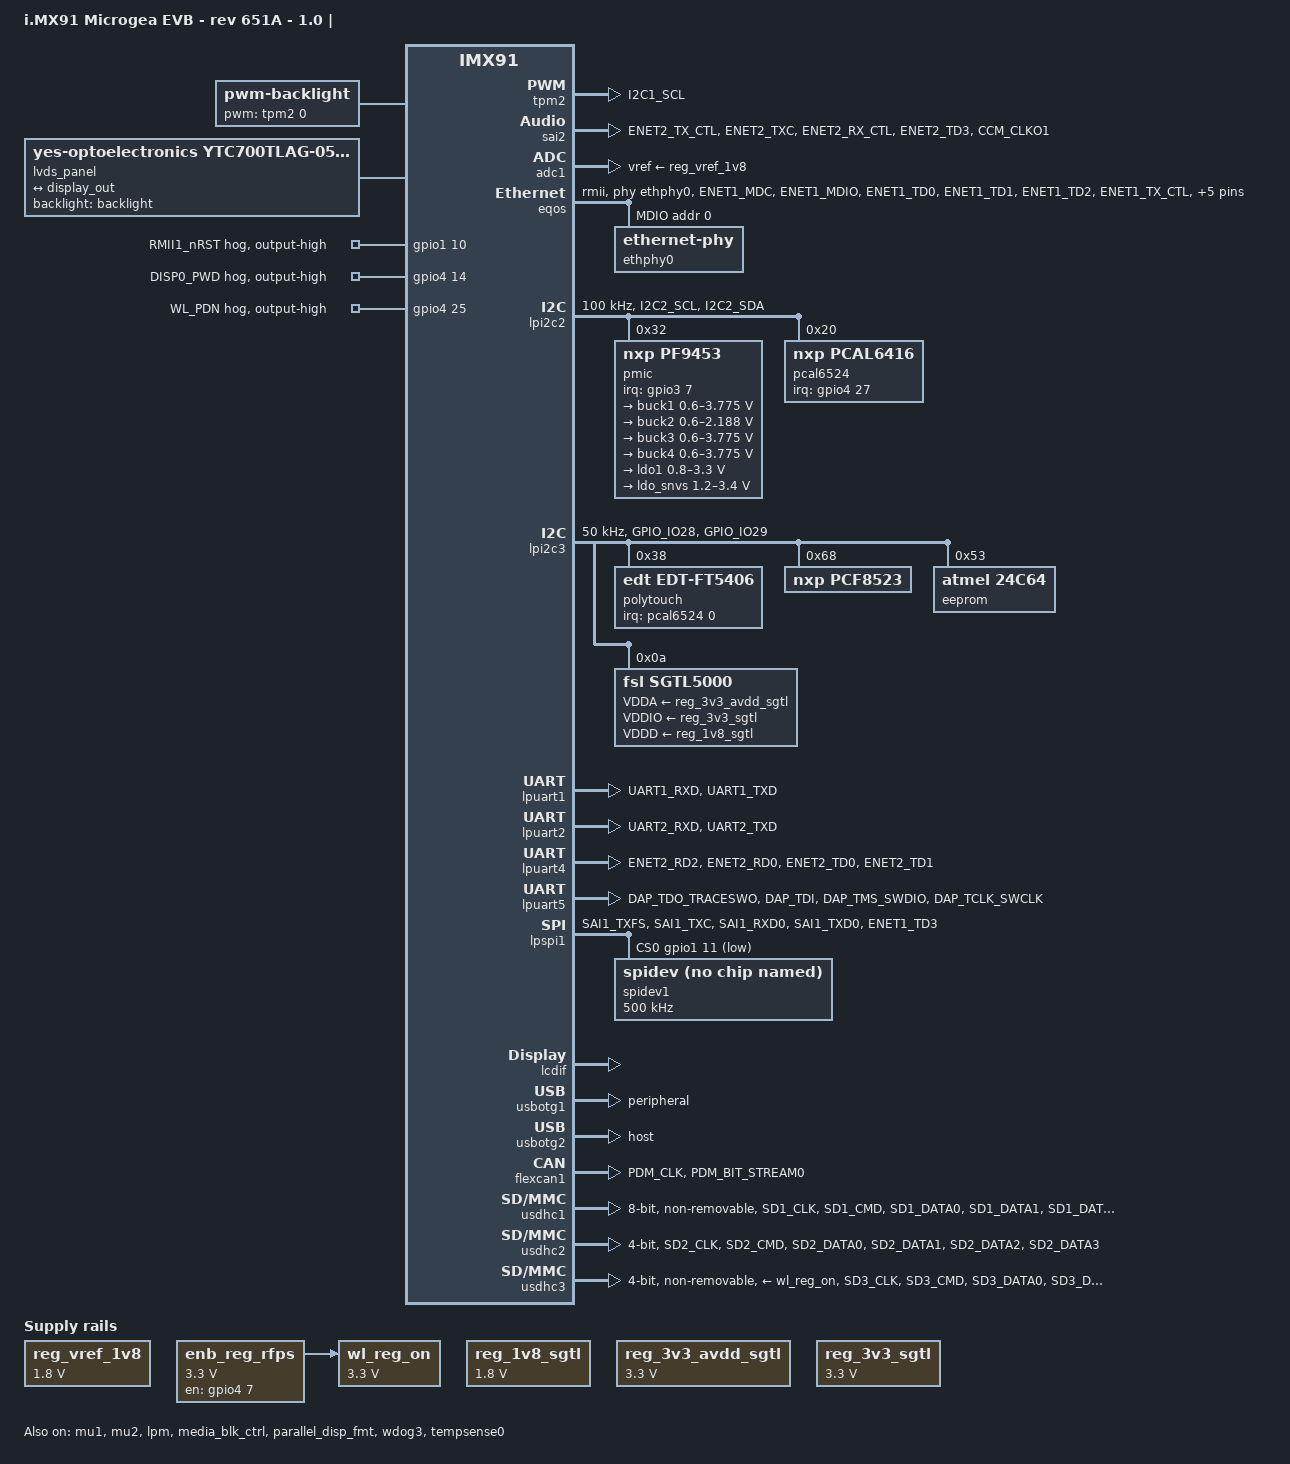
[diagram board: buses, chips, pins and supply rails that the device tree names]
// SPDX-License-Identifier: (GPL-2.0+ OR MIT)
/*
 * Copyright 2024 NXP
 */

/dts-v1/;

#include <dt-bindings/usb/pd.h>
#include "../freescale/imx91.dtsi"

&ele_fw2 {
	memory-region = <&ele_reserved>;
};

/ {
	model = "i.MX91 Microgea EVB - rev 651A - 1.0 | ";
	compatible = "eng,MicrogeaEVB", "fsl,imx91";

	chosen {
		stdout-path = &lpuart1;
	};

	aliases {
		rtc0 = &pcf8523;
	};

	reserved-memory {
		#address-cells = <2>;
		#size-cells = <2>;
		ranges;

		linux,cma {
			compatible = "shared-dma-pool";
			reusable;
			alloc-ranges = <0 0x80000000 0 0x40000000>;
			size = <0 0x10000000>;
			linux,cma-default;
		};

		ele_reserved: ele-reserved@a4120000 {
			compatible = "shared-dma-pool";
			reg = <0 0xa4120000 0 0x100000>;
			no-map;
		};
	};

	reg_vref_1v8: regulator-adc-vref {
		compatible = "regulator-fixed";
		regulator-name = "vref_1v8";
		regulator-min-microvolt = <1800000>;
		regulator-max-microvolt = <1800000>;
	};

	wl_reg_on: regulator-wlregon {
		compatible = "regulator-gpio";
		regulator-name = "WL_REG_ON";
		regulator-min-microvolt = <3300000>;
		regulator-max-microvolt = <3300000>;
		states = <3300000 0x1>,
				 <3300000 0x0>;
		gpios = <&gpio4 23 GPIO_ACTIVE_HIGH>;
		enable-active-high;
		vin-supply = <&enb_reg_rfps>;
	};

	enb_reg_rfps: regulator-enbregrfps {
		compatible = "regulator-fixed";
		regulator-name = "ENB_RFPS";
		regulator-min-microvolt = <3300000>;
		regulator-max-microvolt = <3300000>;
		gpio = <&gpio4 7 GPIO_ACTIVE_LOW>;
		startup-delay-us = <12000>;
		enable-active-high;
	};

	reg_1v8_sgtl: reg_1v8_sgtl_regulator {
		compatible = "regulator-fixed";
		regulator-name = "1v8_sgtl";
		regulator-min-microvolt = <1800000>;
		regulator-max-microvolt = <1800000>;
		always-on;
	};

	reg_3v3_avdd_sgtl: reg_3v3_avdd_regulator {
		compatible = "regulator-fixed";
		regulator-name = "3v3_avdd_sgtl";
		regulator-min-microvolt = <3300000>;
		regulator-max-microvolt = <3300000>;
		always-on;
	};

	reg_3v3_sgtl: reg_3v3_sgtl_regulator {
		compatible = "regulator-fixed";
		regulator-name = "3v3_sgtl";
		regulator-min-microvolt = <3300000>;
		regulator-max-microvolt = <3300000>;
		always-on;
	};

	backlight: backlight {
		compatible = "pwm-backlight";
		pwms = <&tpm2 0 100000 0>;
		brightness-levels = <0 100>;
		num-interpolated-steps = <100>;
		default-brightness-level = <80>;
	};

	lvds_panel {
		compatible = "yes-optoelectronics,ytc700tlag-05-201c";
		backlight = <&backlight>;

		port {
			panel_in_lvds: endpoint {
				remote-endpoint = <&display_out>;
			};
		};
	};

	sound {
		compatible = "simple-audio-card";

		simple-audio-card,format = "i2s";
		simple-audio-card,widgets =
				"Microphone", "Microphone Jack",
				"Headphone", "Headphone Jack",
				"Speaker", "Speaker Ext",
				"Line", "Line In Jack";

		simple-audio-card,routing =
				"MIC_IN", "Microphone Jack",
				"Microphone Jack", "Mic Bias",
				"LINE_IN", "Line In Jack",
				"Headphone Jack", "HP_OUT",
				"Speaker Ext", "LINE_OUT";

		#sound-dai-cells = <2>;

		simple-audio-card,cpu {
				sound-dai = <&sai2>;
		};

		simple-audio-card,codec {
				sound-dai = <&sgtl5000>;
				frame-master;
				bitclock-master;
		};
	};
};

&tpm2 {
	pinctrl-names = "default";
	pinctrl-0 = <&pinctrl_tpm2_ch0>;
	status = "okay";
};

&sai2 {
	#sound-dai-cells = <0>;
	pinctrl-names = "default";
	pinctrl-0 = <&pinctrl_sai2>;
	assigned-clocks = <&clk IMX91_CLK_SAI2>;
	assigned-clock-parents = <&clk IMX91_CLK_AUDIO_PLL>;
	assigned-clock-rates = <24576000>;
	fsl,sai-mclk-direction-output;
	status = "okay";
};


&adc1 {
	vref-supply = <&reg_vref_1v8>;
	status = "okay";
};

&mu1 {
	status = "okay";
};

&mu2 {
	status = "okay";
};

&eqos {
	pinctrl-names = "default", "sleep";
	pinctrl-0 = <&pinctrl_eqos>;
	phy-mode = "rmii";
	phy-handle = <&ethphy0>;
	snps,rmii_refclk_ext;
	status = "okay";

	mdio {
		compatible = "snps,dwmac-mdio";
		#address-cells = <1>;
		#size-cells = <0>;
		clock-frequency = <5000000>;

		ethphy0: ethernet-phy@0 {
			reg = <0>;
		};
	};
};

&lpm {
	soc-supply = <&buck1>;
	status = "okay";
};

&lpi2c2 {
	#address-cells = <1>;
	#size-cells = <0>;
	clock-frequency = <100000>;
	pinctrl-names = "default", "sleep";
	pinctrl-0 = <&pinctrl_lpi2c2>;
	pinctrl-1 = <&pinctrl_lpi2c2>;
	status = "okay";

	pmic@32 {
		compatible = "nxp,pf9453";
		pinctrl-names = "default";
		pinctrl-0 = <&pinctrl_pf9453>;
		reg = <0x32>;
		interrupt-parent = <&gpio3>;
		interrupts = <7 IRQ_TYPE_EDGE_FALLING>;

		regulators {
			buck1: BUCK1 {
				regulator-name = "BUCK1";
				regulator-min-microvolt = <600000>;
				regulator-max-microvolt = <3775000>;
				regulator-boot-on;
				regulator-always-on;
			};

			buck2: BUCK2 {
				regulator-name = "BUCK2";
				regulator-min-microvolt = <600000>;
				regulator-max-microvolt = <2187500>;
				regulator-boot-on;
				regulator-always-on;
				regulator-ramp-delay = <12500>;
			};

			buck3: BUCK3 {
				regulator-name = "BUCK3";
				regulator-min-microvolt = <600000>;
				regulator-max-microvolt = <3775000>;
				regulator-boot-on;
				regulator-always-on;
			};

			buck4: BUCK4{
				regulator-name = "BUCK4";
				regulator-min-microvolt = <600000>;
				regulator-max-microvolt = <3775000>;
				regulator-boot-on;
				regulator-always-on;
			};

			ldo1: LDO1 {
				regulator-name = "LDO1";
				regulator-min-microvolt = <800000>;
				regulator-max-microvolt = <3300000>;
				regulator-boot-on;
				regulator-always-on;
			};

			ldo_snvs: LDO_SNVS {
				regulator-name = "LDO_SNVS";
				regulator-min-microvolt = <1200000>;
				regulator-max-microvolt = <3400000>;
				regulator-boot-on;
				regulator-always-on;
			};
		};
	};

	pcal6524: gpio@20 {
		compatible = "nxp,pcal6416";
		pinctrl-names = "default";
		pinctrl-0 = <&pinctrl_pcal6416>;
		reg = <0x20>;
        interrupt-parent = <&gpio4>;
        interrupts = <27 IRQ_TYPE_LEVEL_LOW>;
		interrupt-controller;
		#interrupt-cells = <2>;
		gpio-controller;
		#gpio-cells = <2>;
		gpio-line-names =
			"EXPIO_0_0", "EXPIO_0_1", "EXPIO_0_2", "EXPIO_0_3",
			"EXPIO_0_4", "EXPIO_0_5", "EXPIO_0_6", "EXPIO_0_7",
			"EXPIO_1_0", "EXPIO_1_1", "EXPIO_1_2", "EXPIO_1_3",
			"EXPIO_1_4", "EXPIO_1_5", "EXPIO_1_6", "EXPIO_1_7";

			EXPIO_0_1 {
				gpio-hog;
				gpios = <1 0>;
				output-high;
				line-name = "ENABLE_12V";
			};

			EXPIO_0_3 {
				gpio-hog;
				gpios = <3 0>;
				output-high;
				line-name = "ENABLE_3V3_LCD";
			};

			EXPIO_0_6 {
				gpio-hog;
				gpios = <6 0>;
				output-high;
				line-name = "LCD_GPIO_RIS";
			};
	};
};

&lpi2c3 {
	#address-cells = <1>;
	#size-cells = <0>;
	clock-frequency = <50000>;
	pinctrl-names = "default";
	pinctrl-0 = <&pinctrl_lpi2c3>;
	status = "okay";

	polytouch: edt-ft5x26@38 {
		compatible = "edt,edt-ft5406";
		reg = <0x38>;
		pinctrl-names = "default";
		interrupt-parent = <&pcal6524>;
		interrupts = <0 IRQ_TYPE_EDGE_FALLING>;
	};

	pcf8523: rtc@68 {
		compatible = "nxp,pcf8523";
		reg = <0x68>;
	};

	eeprom@53 {
		compatible = "atmel,24c64";
		reg = <0x53>;
		pagesize = <64>;
	};

	sgtl5000: codec@a {
		compatible = "fsl,sgtl5000";
		status = "okay";
		#sound-dai-cells = <0>;
		reg = <0x0a>;
		clocks = <&clk IMX91_CLK_SAI2_GATE>;
		clock-names = "mclk";
		assigned-clock-rates = <24000000>, <24000000>;
		VDDA-supply = <&reg_3v3_avdd_sgtl>;
		VDDIO-supply = <&reg_3v3_sgtl>;
		VDDD-supply = <&reg_1v8_sgtl>;
	};
};

&clk {
	init-on-array = <IMX91_CLK_CCM_CKO1>;
};


&lpuart1 { /* console */
	pinctrl-names = "default";
	pinctrl-0 = <&pinctrl_uart1>;
	status = "okay";
};

&lpuart2 { /* RS232 */
	pinctrl-names = "default";
	pinctrl-0 = <&pinctrl_uart2>;
	status = "okay";
};

&lpuart4 { /* BT */
	pinctrl-names = "default";
	pinctrl-0 = <&pinctrl_uart4>;
	uart-has-rtscts;
	status = "okay";
};

&lpuart5 { /* RS 485 */
	pinctrl-names = "default";
	pinctrl-0 = <&pinctrl_uart5>;
	uart-has-rtscts;
	status = "okay";
};

&lpspi1 {
	fsl,spi-num-chipselects = <1>;
	pinctrl-names = "default";
	pinctrl-0 = <&pinctrl_lpspi1>;
	cs-gpios = <&gpio1 11 GPIO_ACTIVE_LOW>;
	pinctrl-assert-gpios = <&gpio4 3 GPIO_ACTIVE_HIGH>;
	status = "okay";
	/delete-property/ dmas;
	/delete-property/ dma-names;

	/*tpm0: slb9670@0 {
		reg = <0>;
		compatible = "infineon,slb9670";
		spi-max-frequency = <1000000>;
	};*/
	spidev1: spi@0 {
		reg = <0>;
		compatible = "rohm,dh2228fv";
		spi-max-frequency = <500000>;
	};
};

&lcdif {
	assigned-clock-rates = <300000000>, <30000000>, <400000000>, <133333333>;
	status = "okay";
};

&media_blk_ctrl {
	status = "okay";
};

&parallel_disp_fmt {
	pinctrl-names = "default";
	pinctrl-0 = <&pinctrl_lcdif>;
	fsl,interface-pix-fmt = "rgb888";
	status = "okay";

	ports {
		port@1 {
			reg = <1>;
			display_out: endpoint {
				remote-endpoint = <&panel_in_lvds>;
			};
		};
	};
};

&usbotg1 {
	dr_mode = "peripheral";
	status = "okay";
};

&usbotg2 {
	dr_mode = "host";
	status = "okay";
};

&micfil {
	status = "disabled";
};

&flexcan1 {
	pinctrl-names = "default";
	pinctrl-0 = <&pinctrl_flexcan1>;
	status = "okay";
};

&usdhc1 { /* eMMC */
	pinctrl-names = "default";
	pinctrl-0 = <&pinctrl_usdhc1>;
	bus-width = <8>;
	no-1-8-v;
	no-mmc-hs400;
	non-removable;
	status = "okay";
};

&usdhc2 {  /* sdcard */
	pinctrl-names = "default";
	pinctrl-0 = <&pinctrl_usdhc2>;
	bus-width = <4>;
	broken-cd;
	no-1-8-v;
	max-frequency = <25000000>;
	status = "okay";
};

&usdhc3 {
	pinctrl-names = "default";
	pinctrl-0 = <&pinctrl_usdhc3>, <&pinctrl_panasonic>;
	bus-width = <4>;
	vmmc-supply = <&wl_reg_on>;
	max-frequency = <25000000>;
	no-1-8-v;
	pm-ignore-notify;
	keep-power-in-suspend;
	non-removable;
	status = "okay";
};



&wdog3 {
	status = "okay";
};

&tempsense0 {
	status = "okay";
};

&iomuxc {

	pinctrl_tpm2_ch0: tpm2ch0grp {
		fsl,pins = <
			MX91_PAD_I2C1_SCL__TPM2_CH0	0x31e
		>;
	};

	pinctrl_flexcan1: flexcan1grp {
		fsl,pins = <
			MX91_PAD_PDM_CLK__CAN1_TX			0x139e
			MX91_PAD_PDM_BIT_STREAM0__CAN1_RX	0x139e
		>;
	};

	pinctrl_eqos: eqosgrp {
		fsl,pins = <
			MX91_PAD_ENET1_MDC__ENET1_MDC						0x57e
			MX91_PAD_ENET1_MDIO__ENET_QOS_MDIO					0x57e
			MX91_PAD_ENET1_TD0__ENET_QOS_RGMII_TD0				0x57e
			MX91_PAD_ENET1_TD1__ENET1_RGMII_TD1					0x57e
			MX91_PAD_ENET1_TD2__ENET_QOS_CLOCK_GENERATE_CLK		0x57e
			MX91_PAD_ENET1_TX_CTL__ENET_QOS_RGMII_TX_CTL		0x57e
			MX91_PAD_ENET1_RD0__ENET_QOS_RGMII_RD0				0x57e
			MX91_PAD_ENET1_RD1__ENET_QOS_RGMII_RD1				0x57e
			MX91_PAD_ENET1_RXC__ENET_QOS_RGMII_RXC				0x5fe
			MX91_PAD_ENET1_RX_CTL__ENET_QOS_RGMII_RX_CTL		0x57e
			MX91_PAD_PDM_BIT_STREAM1__GPIO1_IO10				0x57e
		>;
	};

	pinctrl_lcdif: lcdifgrp {
		fsl,pins = <
			MX91_PAD_GPIO_IO00__MEDIAMIX_DISP_CLK		0x31e
			MX91_PAD_GPIO_IO01__MEDIAMIX_DISP_DE		0x31e
			MX91_PAD_GPIO_IO02__MEDIAMIX_DISP_VSYNC		0x31e
			MX91_PAD_GPIO_IO03__MEDIAMIX_DISP_HSYNC		0x31e
			MX91_PAD_GPIO_IO04__MEDIAMIX_DISP_DATA0		0x31e
			MX91_PAD_GPIO_IO05__MEDIAMIX_DISP_DATA1		0x31e
			MX91_PAD_GPIO_IO06__MEDIAMIX_DISP_DATA2		0x31e
			MX91_PAD_GPIO_IO07__MEDIAMIX_DISP_DATA3		0x31e
			MX91_PAD_GPIO_IO08__MEDIAMIX_DISP_DATA4		0x31e
			MX91_PAD_GPIO_IO09__MEDIAMIX_DISP_DATA5		0x31e
			MX91_PAD_GPIO_IO10__MEDIAMIX_DISP_DATA6		0x31e
			MX91_PAD_GPIO_IO11__MEDIAMIX_DISP_DATA7		0x31e
			MX91_PAD_GPIO_IO12__MEDIAMIX_DISP_DATA8		0x31e
			MX91_PAD_GPIO_IO13__MEDIAMIX_DISP_DATA9		0x31e
			MX91_PAD_GPIO_IO14__MEDIAMIX_DISP_DATA10	0x31e
			MX91_PAD_GPIO_IO15__MEDIAMIX_DISP_DATA11	0x31e
			MX91_PAD_GPIO_IO16__MEDIAMIX_DISP_DATA12	0x31e
			MX91_PAD_GPIO_IO17__MEDIAMIX_DISP_DATA13	0x31e
			MX91_PAD_GPIO_IO18__MEDIAMIX_DISP_DATA14	0x31e
			MX91_PAD_GPIO_IO19__MEDIAMIX_DISP_DATA15	0x31e
			MX91_PAD_GPIO_IO20__MEDIAMIX_DISP_DATA16	0x31e
			MX91_PAD_GPIO_IO21__MEDIAMIX_DISP_DATA17	0x31e
			MX91_PAD_GPIO_IO22__MEDIAMIX_DISP_DATA18	0x31e
			MX91_PAD_GPIO_IO23__MEDIAMIX_DISP_DATA19	0x31e
			MX91_PAD_GPIO_IO24__MEDIAMIX_DISP_DATA20	0x31e
			MX91_PAD_GPIO_IO25__MEDIAMIX_DISP_DATA21	0x31e
			MX91_PAD_GPIO_IO26__MEDIAMIX_DISP_DATA22	0x31e
			MX91_PAD_GPIO_IO27__MEDIAMIX_DISP_DATA23	0x31e
			MX91_PAD_ENET2_MDC__GPIO4_IO14				0x31e /* DISP0_PWD */
		>;
	};

	pinctrl_lcdif_gpio: lcdifgpiogrp {
		fsl,pins = <
			MX91_PAD_GPIO_IO00__GPIO2_IO0			0x51e
			MX91_PAD_GPIO_IO01__GPIO2_IO1			0x51e
			MX91_PAD_GPIO_IO02__GPIO2_IO2			0x51e
			MX91_PAD_GPIO_IO03__GPIO2_IO3			0x51e
		>;
	};

	pinctrl_lpi2c1: lpi2c1grp {
		fsl,pins = <
			//MX91_PAD_I2C1_SCL__LPI2C1_SCL			0x40000b9e
			//MX91_PAD_I2C1_SDA__LPI2C1_SDA			0x40000b9e
		>;
	};

	pinctrl_lpi2c2: lpi2c2grp {
		fsl,pins = <
			MX91_PAD_I2C2_SCL__LPI2C2_SCL			0x40000b9e
			MX91_PAD_I2C2_SDA__LPI2C2_SDA			0x40000b9e
		>;
	};

	pinctrl_lpi2c3: lpi2c3grp {
		fsl,pins = <
			MX91_PAD_GPIO_IO28__LPI2C3_SDA			0x40000b9e
			MX91_PAD_GPIO_IO29__LPI2C3_SCL			0x40000b9e
		>;
	};

	pinctrl_lpspi1: lpspi1grp {
		fsl,pins = <
			MX91_PAD_SAI1_TXFS__GPIO1_IO11		0x3fe /* SPI_SS0 */
			MX91_PAD_SAI1_TXC__LPSPI1_SIN		0x3fe /* SPI_MISO */
			MX91_PAD_SAI1_RXD0__LPSPI1_SOUT		0x3fe /* SPI_MOSI */
			MX91_PAD_SAI1_TXD0__LPSPI1_SCK		0x3fe /* SPI_CLK */
			MX91_PAD_ENET1_TD3__GPIO4_IO3		0x3fe /* TPM_RST */
		>;
	};

	pinctrl_pcal6416: pcal6416grp {
		fsl,pins = <
			MX91_PAD_ENET2_RD3__GPIO4_IO27			0x31e /* INTERRUPT */
			MX91_PAD_SD1_STROBE__GPIO3_IO18			0x31e /* RESET */
		>;
	};

	pinctrl_pf9453: pf9453grp {
		fsl,pins = <
			MX91_PAD_SD2_RESET_B__GPIO3_IO7	0x31e
		>;
	};

	pinctrl_uart1: uart1grp {
		fsl,pins = <
			MX91_PAD_UART1_RXD__LPUART1_RX			0x31e
			MX91_PAD_UART1_TXD__LPUART1_TX			0x31e
		>;
	};

	pinctrl_uart2: uart2grp {
		fsl,pins = <
			MX91_PAD_UART2_RXD__LPUART2_RX			0x31e
			MX91_PAD_UART2_TXD__LPUART2_TX			0x31e
		>;
	};

	pinctrl_uart4: uart4grp {
		fsl,pins = <
			MX91_PAD_ENET2_RD2__LPUART4_CTS_B	0x31e
			MX91_PAD_ENET2_RD0__LPUART4_RX		0x31e
			MX91_PAD_ENET2_TD0__LPUART4_TX		0x31e
			MX91_PAD_ENET2_TD1__LPUART4_RTS_B	0x31e
		>;
	};

	pinctrl_uart5: uart5grp {
		fsl,pins = <
			MX91_PAD_DAP_TDO_TRACESWO__LPUART5_TX		0x31e
			MX91_PAD_DAP_TDI__LPUART5_RX				0x31e
			MX91_PAD_DAP_TMS_SWDIO__LPUART5_RTS_B		0x31e
			MX91_PAD_DAP_TCLK_SWCLK__LPUART5_CTS_B		0x31e
		>;
	};

	pinctrl_usdhc1: usdhc1grp {
		fsl,pins = <
			MX91_PAD_SD1_CLK__USDHC1_CLK		0x1582
			MX91_PAD_SD1_CMD__USDHC1_CMD		0x1382
			MX91_PAD_SD1_DATA0__USDHC1_DATA0	0x1382
			MX91_PAD_SD1_DATA1__USDHC1_DATA1	0x1382
			MX91_PAD_SD1_DATA2__USDHC1_DATA2	0x1382
			MX91_PAD_SD1_DATA3__USDHC1_DATA3	0x1382
			MX91_PAD_SD1_DATA4__USDHC1_DATA4	0x1382
			MX91_PAD_SD1_DATA5__USDHC1_DATA5	0x1382
			MX91_PAD_SD1_DATA6__USDHC1_DATA6	0x1382
			MX91_PAD_SD1_DATA7__USDHC1_DATA7	0x1382
		>;
	};

	pinctrl_usdhc2: usdhc2grp {
		fsl,pins = <
			MX91_PAD_SD2_CLK__USDHC2_CLK		0x1582
			MX91_PAD_SD2_CMD__USDHC2_CMD		0x1382
			MX91_PAD_SD2_DATA0__USDHC2_DATA0	0x1382
			MX91_PAD_SD2_DATA1__USDHC2_DATA1	0x1382
			MX91_PAD_SD2_DATA2__USDHC2_DATA2	0x1382
			MX91_PAD_SD2_DATA3__USDHC2_DATA3	0x1382
		>;
	};

	pinctrl_panasonic: panasonicdgrp {
		fsl,pins = <
			MX91_PAD_ENET1_TXC__GPIO4_IO7	0x31e /* ENB_RFPS */
			MX91_PAD_ENET2_RXC__GPIO4_IO23	0x31e /* ENB_WIFI_BLT */
			MX91_PAD_ENET2_RD1__GPIO4_IO25	0x31e /* WL_PDN */
		>;
	};

	pinctrl_usdhc3: usdhc3grp {
		fsl,pins = <
			MX91_PAD_SD3_CLK__USDHC3_CLK		0x1582
			MX91_PAD_SD3_CMD__USDHC3_CMD		0x1382
			MX91_PAD_SD3_DATA0__USDHC3_DATA0	0x1382
			MX91_PAD_SD3_DATA1__USDHC3_DATA1	0x1382
			MX91_PAD_SD3_DATA2__USDHC3_DATA2	0x1382
			MX91_PAD_SD3_DATA3__USDHC3_DATA3	0x1382
		>;
	};

	pinctrl_sai2: sai2grp {
		fsl,pins = <
			MX91_PAD_ENET2_TX_CTL__SAI2_TX_SYNC		0x31e
			MX91_PAD_ENET2_TXC__SAI2_TX_BCLK		0x31e
			MX91_PAD_ENET2_RX_CTL__SAI2_TX_DATA0	0x31e
			MX91_PAD_ENET2_TD3__SAI2_RX_DATA0		0x31e
			MX91_PAD_CCM_CLKO1__CCMSRCGPCMIX_CLKO1	0x31e
		>;
	};
};

&gpio1 {
	gpio-line-names =
		"", "", "", "", "", "", "", "",
		"", "", "RMII1_nRST", "", "", "", "", "",
		"", "", "", "", "", "", "", "",
		"", "", "", "", "", "", "", "";
		RMII1_nRST {
			gpio-hog;
			gpios = <10 0>;
			output-high;
		};
};

&gpio4 {
	gpio-line-names =
		"", "", "", "", "", "", "", "",
		"", "", "", "", "", "", "DISP0_PWD", "",
		"", "", "", "", "", "", "", "",
		"", "WL_PDN", "", "", "", "", "", "";
		DISP0_PWD {
			gpio-hog;
			gpios = <14 0>;
			output-high;
		};

		WL_PDN {
			gpio-hog;
			gpios = <25 0>;
			output-high;
		};
};
